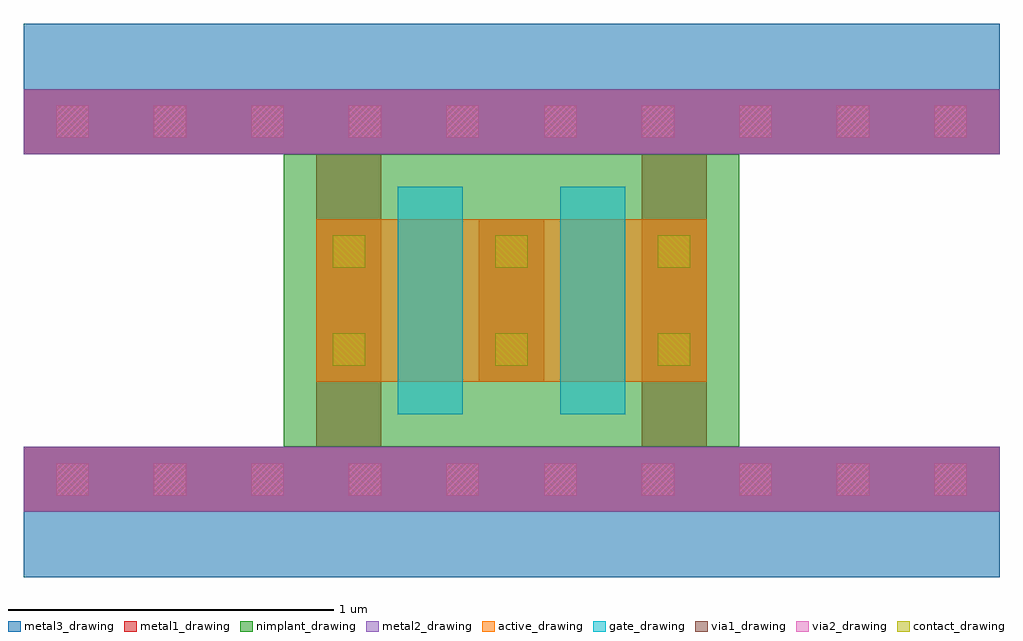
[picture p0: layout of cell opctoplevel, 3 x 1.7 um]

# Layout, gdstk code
import gdstk
lib = gdstk.Library(unit=1e-6, precision=1e-09)
def R(c, l, rs):  # rectangles x0, y0, x1, y1
    for r in rs: c.add(gdstk.rectangle(r[:2], r[2:], *l))
def A(c, l, x, y, w, h, nx, ny, dx, dy):  # array of equal rectangles
    R(c, l, [(x+i*dx, y+j*dy, x+i*dx+w, y+j*dy+h) for i in range(nx) for j in range(ny)])
active_drawing = (1, 0)
nimplant_drawing = (5, 0)
gate_drawing = (6, 0)
contact_drawing = (7, 0)
metal1_drawing = (8, 0)
via1_drawing = (9, 0)
metal2_drawing = (10, 0)
via2_drawing = (11, 0)
metal3_drawing = (12, 0)

opctoplevel = lib.new_cell('opctoplevel')
R(opctoplevel, active_drawing, [(-0.25,0,0.95,0.5)])
R(opctoplevel, nimplant_drawing, [(-0.35,-0.2,1.05,0.7)])
R(opctoplevel, gate_drawing, [(0,-0.1,0.2,0.6), (0.5,-0.1,0.7,0.6)])
A(opctoplevel, contact_drawing, -0.2, 0.05, 0.1, 0.1, 3, 2, 0.5, 0.3)
A(opctoplevel, metal1_drawing, -0.25, 0, 0.2, 0.5, 3, 1, 0.5, 0)
R(opctoplevel, metal1_drawing, [(-1.15,-0.4,1.85,-0.2), (-0.25,-0.2,-0.05,0), (0.75,-0.2,0.95,0), (-0.25,0.5,-0.05,0.7), (0.75,0.5,0.95,0.7), (-1.15,0.7,1.85,0.9)])
A(opctoplevel, via1_drawing, -1.05, -0.35, 0.1, 0.1, 10, 2, 0.3, 1.1)
R(opctoplevel, metal2_drawing, [(-1.15,-0.4,1.85,-0.2), (-1.15,0.7,1.85,0.9)])
A(opctoplevel, via2_drawing, -1.05, -0.35, 0.1, 0.1, 10, 2, 0.3, 1.1)
R(opctoplevel, metal3_drawing, [(-1.15,-0.6,1.85,-0.2), (-1.15,0.7,1.85,1.1)])

lib.write_gds('opctoplevel.gds')
